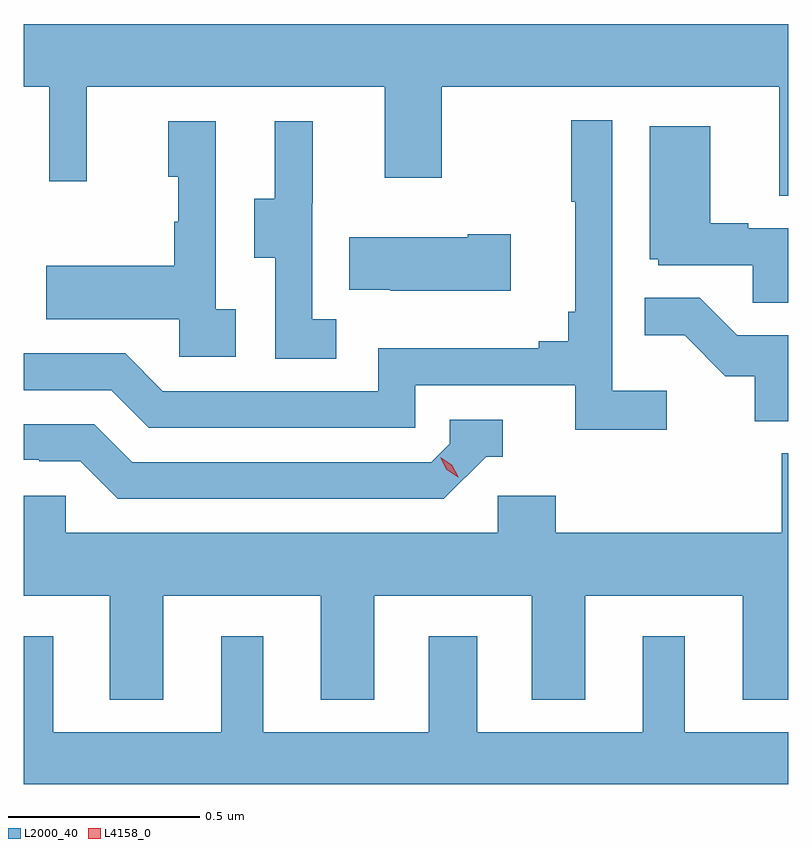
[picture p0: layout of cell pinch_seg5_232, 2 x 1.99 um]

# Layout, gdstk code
import gdstk
lib = gdstk.Library(unit=1e-6, precision=1e-09)
def P(c, l, *ps):  # polygons
    for p in ps: c.add(gdstk.Polygon(p, *l))
L2000_40 = (2000, 40)
L4158_0 = (4158, 0)

pinch_seg5_232 = lib.new_cell('pinch_seg5_232')
P(pinch_seg5_232, L2000_40, [(955.582,896.884),(953.582,896.884),(953.582,896.72),(953.649,896.72),(953.649,896.472),(953.747,896.472),(953.747,896.72),(954.527,896.72),(954.527,896.481),(954.675,896.481),(954.675,896.72),(955.559,896.72),(955.559,896.434),(955.582,896.434)],
  [(955.264,895.924),(955.122,895.924),(955.122,896.632),(955.014,896.632),(955.014,896.419),(955.025,896.419),(955.025,896.131),(955.006,896.131),(955.006,896.054),(954.929,896.054),(954.929,896.035),(954.51,896.035),(954.51,895.923),(953.946,895.923),(953.847,896.022),(953.582,896.022),(953.582,895.926),(953.81,895.926),(953.909,895.827),(954.606,895.827),(954.606,895.938),(955.025,895.938),(955.025,895.822),(955.264,895.822)],
  [(954.136,896.138),(954.084,896.138),(954.084,896.629),(953.96,896.629),(953.96,896.484),(953.986,896.484),(953.986,896.366),(953.976,896.366),(953.976,896.251),(953.641,896.251),(953.641,896.111),(953.988,896.111),(953.988,896.013),(954.136,896.013)],
  [(954.4,896.111),(954.336,896.111),(954.336,896.415),(954.338,896.415),(954.338,896.629),(954.239,896.629),(954.239,896.427),(954.185,896.427),(954.185,896.272),(954.24,896.272),(954.24,896.008),(954.4,896.008)],
  [(955.582,896.349),(955.478,896.349),(955.478,896.362),(955.378,896.362),(955.378,896.617),(955.22,896.617),(955.22,896.268),(955.242,896.268),(955.242,896.253),(955.489,896.253),(955.489,896.155),(955.582,896.155)],
  [(954.856,896.334),(954.743,896.334),(954.743,896.326),(954.433,896.326),(954.433,896.189),(954.541,896.189),(954.541,896.186),(954.856,896.186)],
  [(955.582,896.07),(955.449,896.07),(955.351,896.168),(955.207,896.168),(955.207,896.069),(955.311,896.069),(955.418,895.962),(955.495,895.962),(955.495,895.845),(955.582,895.845)],
  [(954.792,895.752),(954.835,895.752),(954.835,895.848),(954.696,895.848),(954.696,895.785),(954.648,895.737),(953.865,895.737),(953.766,895.836),(953.582,895.836),(953.582,895.743),(953.622,895.743),(953.622,895.74),(953.729,895.74),(953.828,895.641),(954.681,895.641)],
  [(953.947,895.388),(954.359,895.388),(954.359,895.115),(954.499,895.115),(954.499,895.388),(954.911,895.388),(954.911,895.115),(955.051,895.115),(955.051,895.388),(955.463,895.388),(955.463,895.115),(955.582,895.115),(955.582,895.76),(955.565,895.76),(955.565,895.552),(954.974,895.552),(954.974,895.65),(954.822,895.65),(954.822,895.552),(953.691,895.552),(953.691,895.65),(953.582,895.65),(953.582,895.388),(953.807,895.388),(953.807,895.115),(953.947,895.115)],
  [(955.582,895.03),(955.312,895.03),(955.312,895.282),(955.202,895.282),(955.202,895.03),(954.769,895.03),(954.769,895.282),(954.641,895.282),(954.641,895.03),(954.208,895.03),(954.208,895.282),(954.098,895.282),(954.098,895.03),(953.659,895.03),(953.659,895.282),(953.582,895.282),(953.582,894.895),(955.582,894.895)])
P(pinch_seg5_232, L4158_0, [(954.719,895.698),(954.688,895.718),(954.671,895.75),(954.671,895.75),(954.671,895.75),(954.702,895.731),(954.719,895.699),(954.719,895.698)])

lib.write_gds('pinch_seg5_232.gds')
